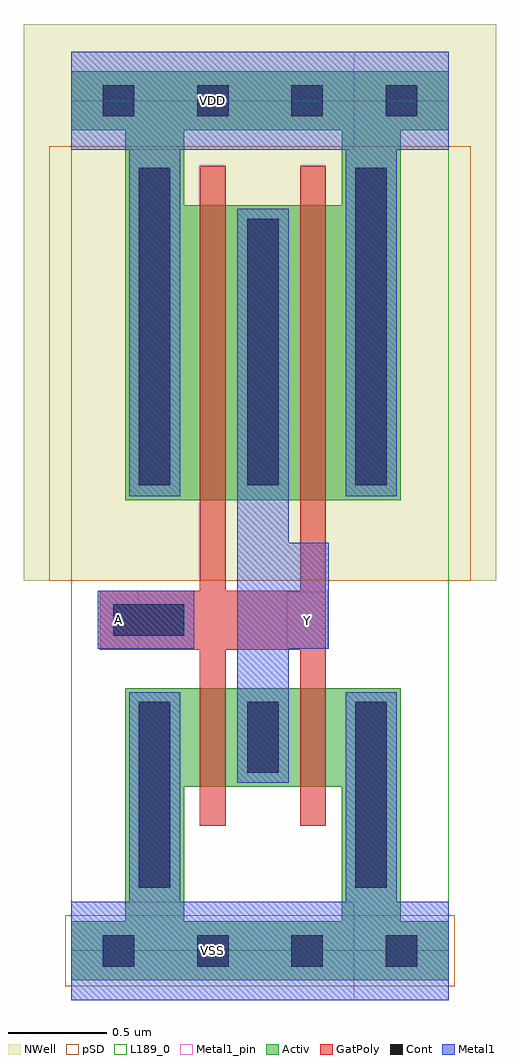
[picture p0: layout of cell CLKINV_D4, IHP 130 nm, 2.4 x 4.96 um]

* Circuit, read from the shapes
.subckt CLKINV_D4 A VDD VSS Y
XM1 Y A VSS VSS sg13_lv_nmos w=0.5u l=0.13u m=2
XM2 Y A VDD VDD sg13_lv_pmos w=1.5u l=0.13u m=2
.ends

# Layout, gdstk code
import gdstk
lib = gdstk.Library(unit=1e-6, precision=1e-09)
def R(c, l, rs):  # rectangles x0, y0, x1, y1
    for r in rs: c.add(gdstk.rectangle(r[:2], r[2:], *l))
def A(c, l, x, y, w, h, nx, ny, dx, dy):  # array of equal rectangles
    R(c, l, [(x+i*dx, y+j*dy, x+i*dx+w, y+j*dy+h) for i in range(nx) for j in range(ny)])
def P(c, l, *ps):  # polygons
    for p in ps: c.add(gdstk.Polygon(p, *l))
Activ = (1, 0)
GatPoly = (5, 0)
Cont = (6, 0)
Metal1 = (8, 0)
Metal1_pin = (8, 2)
pSD = (14, 0)
NWell = (31, 0)
L189_0 = (189, 0)

clkinv_d4 = lib.new_cell('CLKINV_D4')
P(clkinv_d4, Activ, [(0,4.17),(1.375,4.17),(1.375,3.79),(0.575,3.79),(0.575,4.17),(0.275,4.17),(0.275,2.29),(1.675,2.29),(1.675,4.17),(1.92,4.17),(1.92,4.47),(0,4.47)],
  [(1.675,1.335),(0.275,1.335),(0.275,0.15),(0.575,0.15),(0.575,0.835),(1.375,0.835),(1.375,0.15),(0.575,0.15),(0.275,0.15),(0,0.15),(0,-0.15),(1.92,-0.15),(1.92,0.15),(1.675,0.15)])
P(clkinv_d4, GatPoly, [(0.785,1.53),(1.165,1.53),(1.165,0.635),(1.295,0.635),(1.295,3.99),(1.165,3.99),(1.165,1.83),(0.785,1.83),(0.785,3.99),(0.655,3.99),(0.655,1.83),(0.145,1.83),(0.145,1.53),(0.655,1.53),(0.655,0.635),(0.785,0.635)])
A(clkinv_d4, Cont, 0.16, -0.08, 0.16, 0.16, 4, 2, 0.48, 4.32)
R(clkinv_d4, Cont, [(0.345,0.32,0.505,1.265), (1.445,0.32,1.605,1.265), (0.895,0.905,1.055,1.265), (0.215,1.6,0.575,1.76), (0.345,2.365,0.505,3.98), (0.895,2.365,1.055,3.72), (1.445,2.365,1.605,3.98)])
R(clkinv_d4, Metal1, [(0.135,1.535,0.625,1.83), (0.295,2.31,0.555,4.07)])
P(clkinv_d4, Metal1, [(1.655,2.31),(1.655,4.07),(1.92,4.07),(1.92,4.57),(0,4.57),(0,4.07),(1.395,4.07),(1.395,2.31)],
  [(1.31,1.535),(1.31,2.075),(1.105,2.075),(1.105,3.77),(0.845,3.77),(0.845,0.855),(1.105,0.855),(1.105,1.535)],
  [(0,-0.25),(1.92,-0.25),(1.92,0.25),(1.655,0.25),(1.655,1.315),(1.395,1.315),(1.395,0.25),(0.555,0.25),(0.555,1.315),(0.295,1.315),(0.295,0.25),(0,0.25)])
R(clkinv_d4, Metal1_pin, [(0,-0.25,1.44,0.25), (0.135,1.535,0.345,1.83), (1.095,1.535,1.305,1.825), (0,4.07,1.44,4.57)])
R(clkinv_d4, pSD, [(-0.03,-0.18,1.95,0.18), (-0.11,1.88,2.03,4.09)])
R(clkinv_d4, NWell, [(-0.24,1.88,2.16,4.71)])
R(clkinv_d4, L189_0, [(0,0,1.92,4.32)])
clkinv_d4.add(gdstk.Label('VSS', (0.72,0), layer=8, texttype=25))
clkinv_d4.add(gdstk.Label('VDD', (0.72,4.32), layer=8, texttype=25))
clkinv_d4.add(gdstk.Label('Y', (1.2,1.68), layer=8, texttype=25))
clkinv_d4.add(gdstk.Label('A', (0.24,1.685), layer=8, texttype=25))

lib.write_gds('CLKINV_D4.gds')
